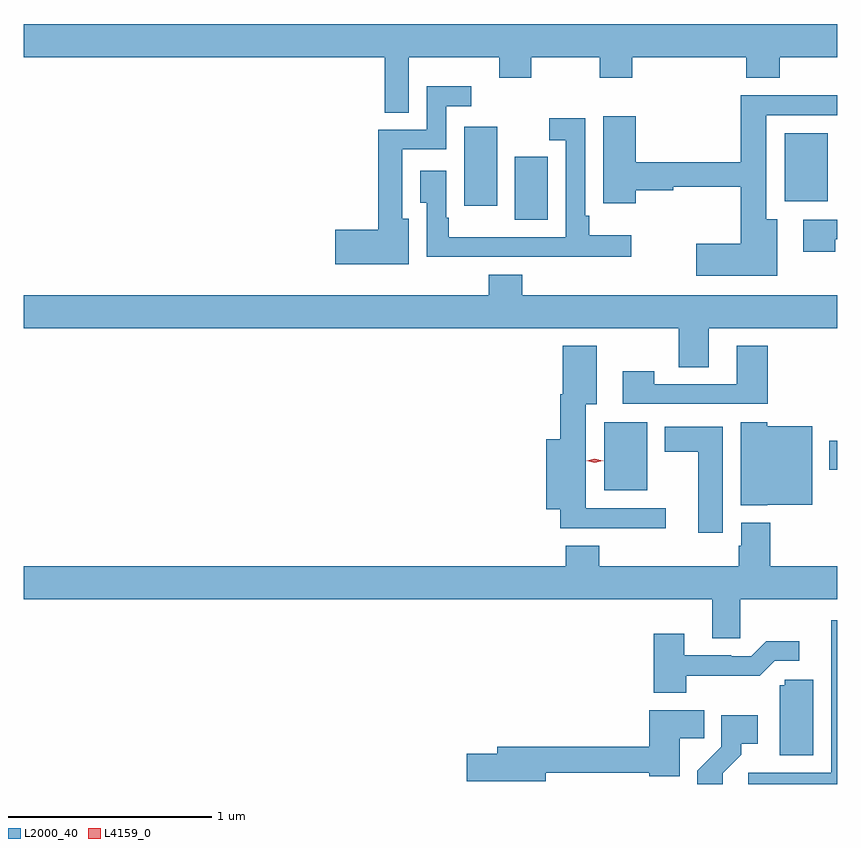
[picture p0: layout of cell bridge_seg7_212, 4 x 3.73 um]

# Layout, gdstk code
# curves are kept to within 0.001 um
import gdstk
lib = gdstk.Library(unit=1e-6, precision=1e-09)
def R(c, l, rs):  # rectangles x0, y0, x1, y1
    for r in rs: c.add(gdstk.rectangle(r[:2], r[2:], *l))
def P(c, l, *ps):  # polygons
    for p in ps: c.add(gdstk.Polygon(p, *l))
L2000_40 = (2000, 40)
L4159_0 = (4159, 0)

bridge_seg7_212 = lib.new_cell('bridge_seg7_212')
R(bridge_seg7_212, L2000_40, [(327.404,999.821,327.616,1000.156), (328.511,999.922,328.551,1000.064), (326.966,1001.149,327.127,1001.46), (326.717,1001.219,326.878,1001.608), (328.292,1001.24,328.504,1001.575)])
P(bridge_seg7_212, L2000_40, [(326.443,1001.948),(326.89,1001.948),(326.89,1001.849),(327.045,1001.849),(327.045,1001.948),(327.382,1001.948),(327.382,1001.849),(327.542,1001.849),(327.542,1001.948),(328.103,1001.948),(328.103,1001.849),(328.268,1001.849),(328.268,1001.948),(328.551,1001.948),(328.551,1002.112),(324.551,1002.112),(324.551,1001.948),(326.325,1001.948),(326.325,1001.677),(326.443,1001.677)],
  [(326.443,1001.155),(326.413,1001.155),(326.413,1001.496),(326.628,1001.496),(326.628,1001.709),(326.752,1001.709),(326.752,1001.806),(326.532,1001.806),(326.532,1001.592),(326.295,1001.592),(326.295,1001.102),(326.082,1001.102),(326.082,1000.931),(326.443,1000.931)],
  [(328.255,1001.152),(328.201,1001.152),(328.201,1001.664),(328.551,1001.664),(328.551,1001.762),(328.076,1001.762),(328.076,1001.432),(327.56,1001.432),(327.56,1001.659),(327.401,1001.659),(327.401,1001.232),(327.56,1001.232),(327.56,1001.296),(327.743,1001.296),(327.743,1001.311),(328.076,1001.311),(328.076,1001.032),(327.858,1001.032),(327.858,1000.874),(328.255,1000.874)],
  [(326.753,1000.968),(327.119,1000.968),(327.119,1000.967),(327.538,1000.967),(327.538,1001.074),(327.332,1001.074),(327.332,1001.17),(327.312,1001.17),(327.312,1001.65),(327.135,1001.65),(327.135,1001.541),(327.216,1001.541),(327.216,1001.064),(326.87,1001.064),(326.87,1001.065),(326.641,1001.065),(326.641,1001.161),(326.628,1001.161),(326.628,1001.392),(326.501,1001.392),(326.501,1001.233),(326.532,1001.233),(326.532,1000.967),(326.753,1000.967)],
  [(328.539,1001.055),(328.551,1001.055),(328.551,1001.151),(328.383,1001.151),(328.383,1000.992),(328.539,1000.992)],
  [(327.919,1000.616),(328.551,1000.616),(328.551,1000.78),(327.002,1000.78),(327.002,1000.879),(326.837,1000.879),(326.837,1000.78),(324.551,1000.78),(324.551,1000.616),(327.772,1000.616),(327.772,1000.426),(327.919,1000.426)],
  [(328.208,1000.531),(328.055,1000.531),(328.055,1000.341),(327.651,1000.341),(327.651,1000.405),(327.495,1000.405),(327.495,1000.245),(328.208,1000.245)],
  [(327.706,999.732),(327.313,999.732),(327.313,1000.244),(327.367,1000.244),(327.367,1000.531),(327.2,1000.531),(327.2,1000.293),(327.188,1000.293),(327.188,1000.072),(327.119,1000.072),(327.119,999.728),(327.188,999.728),(327.188,999.635),(327.706,999.635)],
  [(328.206,999.749),(328.426,999.749),(328.426,1000.135),(328.206,1000.135),(328.206,1000.156),(328.076,1000.156),(328.076,999.746),(328.206,999.746)],
  [(327.988,1000.132),(327.701,1000.132),(327.701,1000.01),(327.866,1000.01),(327.866,999.612),(327.988,999.612)],
  [(328.074,999.284),(328.551,999.284),(328.551,999.448),(328.22,999.448),(328.22,999.661),(328.079,999.661),(328.079,999.549),(328.067,999.549),(328.067,999.448),(327.38,999.448),(327.38,999.547),(327.215,999.547),(327.215,999.448),(324.551,999.448),(324.551,999.284),(327.935,999.284),(327.935,999.094),(328.074,999.094)],
  [(328.551,999.181),(328.52,999.181),(328.52,998.958),(328.521,998.958),(328.521,998.433),(328.113,998.433),(328.113,998.377),(328.551,998.377)],
  [(327.807,998.91),(328.169,998.909),(328.242,998.982),(328.363,998.982),(328.363,999.079),(328.201,999.079),(328.128,999.006),(328.028,999.006),(328.028,999.009),(327.799,999.009),(327.799,999.115),(327.647,999.115),(327.647,998.825),(327.807,998.825)],
  [(328.432,998.889),(328.293,998.889),(328.293,998.862),(328.268,998.862),(328.268,998.518),(328.432,998.518)],
  [(327.118,998.433),(327.626,998.433),(327.626,998.414),(327.775,998.414),(327.775,998.602),(327.896,998.602),(327.896,998.74),(327.626,998.74),(327.626,998.561),(326.879,998.561),(326.879,998.525),(326.73,998.525),(326.73,998.39),(327.118,998.39)],
  [(327.988,998.431),(328.078,998.521),(328.078,998.576),(328.159,998.576),(328.159,998.716),(327.981,998.716),(327.981,998.561),(327.862,998.442),(327.862,998.377),(327.988,998.377)])
P(bridge_seg7_212, L4159_0, [(327.359,999.955),(327.319,999.965),(327.318,999.965),(327.319,999.965),(327.359,999.975),(327.398,999.965),(327.399,999.965),(327.398,999.965)])

lib.write_gds('bridge_seg7_212.gds')
